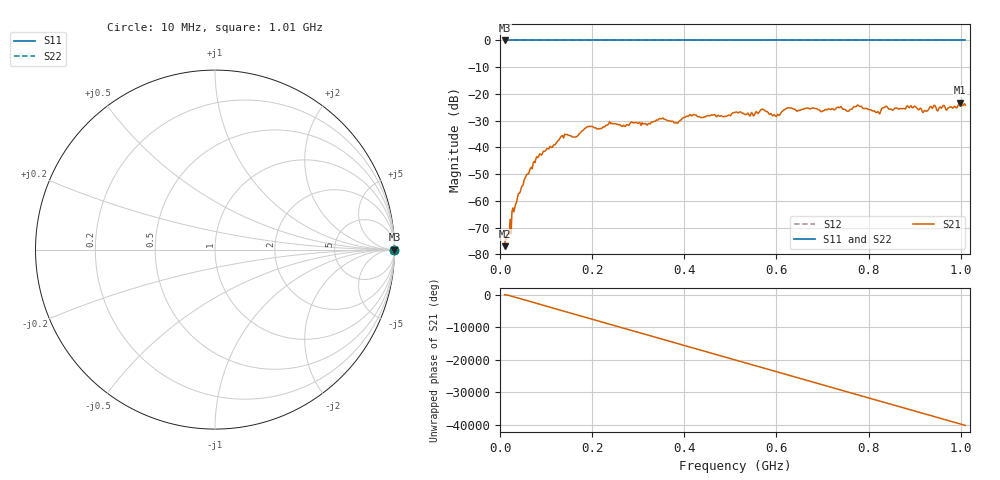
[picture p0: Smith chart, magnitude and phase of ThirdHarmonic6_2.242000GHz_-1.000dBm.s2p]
! 8/17/2025 2:38:03 AM
! C:\ANRITSUVNA\TEMP\TEMP.S2P
! CHANNEL.1
! TR.MEASUREMENT
! RAW.DATA
! RF.CORRECTION.OFF
! AVERAGING.OFF
! IF.BANDWIDTH: 5KHZ
! SWEEPTYPE:  FREQ.SWEEP(Linear)
! Reference Plane Port Info
! PORT:  PORT1  PORT2
! DISTANCE:  0  m  0  m
! TIME:  0  s  0  s
! PHASE.OFFSET:  0  deg.  0  deg.
! LOSS:  0  dB  0  dB
! REF.LOSS:  0  dB  0  dB
! REF.FREQ:  0  Hz  0  Hz
! Power Info
! POWER:  -20  dBm  -20  dBm
! EFF.POWER:  -20  dBm  -20  dBm
! SOURCE.ATTEN:  0  dB  0  dB
! TEST.ATTEN:  0  dB  0  dB
# GHZ S RI R 50.0
! FREQ.GHZ  S11RE  S11IM  S21RE  S21IM  S12RE  S12IM  S22RE  S22IM
!; PortSelection: Port_12
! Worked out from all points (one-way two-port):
!   501 points, 10 MHz to 1.01 GHz, reference 50 ohm
!   highest |S21| = -23.24 dB at 998 MHz (marker M1); lowest = -77.0 dB at 10 MHz (marker M2)
!   lowest |S11| = 0.0 dB at 10 MHz (marker M3)
!   |S11| at or under -10 dB: nowhere
!   |S22| runs from 0.0 to 0.0 dB; largest |S21 - S12| = 1.1
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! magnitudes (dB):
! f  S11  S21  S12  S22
! 10 MHz  0.0  -77.0  0.0  0.0
! 42 MHz  0.0  -57.2  0.0  0.0
! 76 MHz  0.0  -45.7  0.0  0.0
! 136 MHz  0.0  -35.7  0.0  0.0
! 164 MHz  0.0  -36.1  0.0  0.0
! 178 MHz  0.0  -33.9  0.0  0.0
! 344 MHz  0.0  -29.6  0.0  0.0
! 382 MHz  0.0  -30.6  0.0  0.0
! 416 MHz  0.0  -28.2  0.0  0.0
! 510 MHz  0.0  -27.0  0.0  0.0
! 546 MHz  0.0  -26.9  0.0  0.0
! 570 MHz  0.0  -25.6  0.0  0.0
! 596 MHz  0.0  -27.8  0.0  0.0
! 624 MHz  0.0  -25.2  0.0  0.0
! 678 MHz  0.0  -25.3  0.0  0.0
! 754 MHz  0.0  -26.5  0.0  0.0
! 780 MHz  0.0  -24.6  0.0  0.0
! 820 MHz  0.0  -26.6  0.0  0.0
! 844 MHz  0.0  -25.7  0.0  0.0
! 922 MHz  0.0  -26.2  0.0  0.0
! 998 MHz  0.0  -23.2  0.0  0.0
! 1.01 GHz  0.0  -24.2  0.0  0.0
